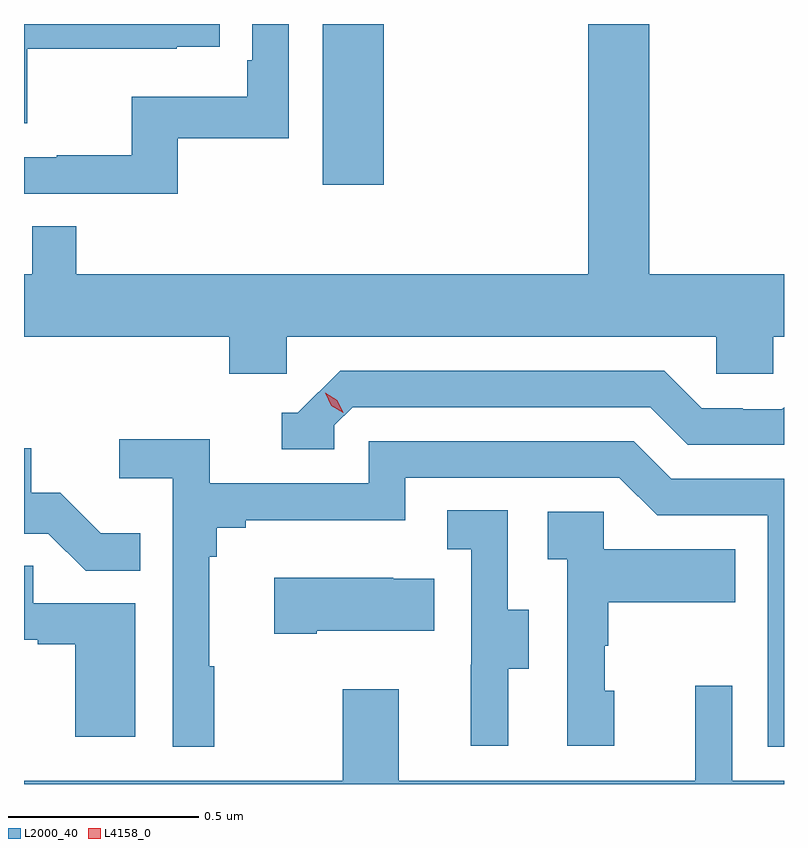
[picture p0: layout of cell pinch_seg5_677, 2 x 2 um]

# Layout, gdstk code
import gdstk
lib = gdstk.Library(unit=1e-6, precision=1e-09)
def R(c, l, rs):  # rectangles x0, y0, x1, y1
    for r in rs: c.add(gdstk.rectangle(r[:2], r[2:], *l))
def P(c, l, *ps):  # polygons
    for p in ps: c.add(gdstk.Polygon(p, *l))
L2000_40 = (2000, 40)
L4158_0 = (4158, 0)

pinch_seg5_677 = lib.new_cell('pinch_seg5_677')
R(pinch_seg5_677, L2000_40, [(1047.113,839.844,1047.274,840.267)])
P(pinch_seg5_677, L2000_40, [(1047.018,839.444),(1048.149,839.444),(1048.149,839.346),(1048.299,839.346),(1048.299,839.444),(1048.327,839.444),(1048.327,839.608),(1047.972,839.608),(1047.972,840.267),(1047.812,840.267),(1047.812,839.608),(1046.465,839.608),(1046.465,839.735),(1046.349,839.735),(1046.349,839.608),(1046.327,839.608),(1046.327,839.444),(1046.867,839.444),(1046.867,839.346),(1047.018,839.346)],
  [(1046.336,840.202),(1046.729,840.202),(1046.729,840.207),(1046.842,840.207),(1046.842,840.267),(1046.327,840.267),(1046.327,840.006),(1046.336,840.006)],
  [(1046.731,839.967),(1047.024,839.967),(1047.024,840.267),(1046.928,840.267),(1046.928,840.172),(1046.915,840.172),(1046.915,840.076),(1046.61,840.076),(1046.61,839.921),(1046.413,839.921),(1046.413,839.916),(1046.327,839.916),(1046.327,839.82),(1046.731,839.82)],
  [(1047.144,839.211),(1047.192,839.259),(1047.975,839.259),(1048.074,839.16),(1048.327,839.16),(1048.327,839.259),(1048.321,839.253),(1048.218,839.253),(1048.218,839.256),(1048.111,839.256),(1048.012,839.355),(1047.159,839.355),(1047.048,839.244),(1047.005,839.244),(1047.005,839.148),(1047.144,839.148)],
  [(1046.827,838.577),(1046.815,838.577),(1046.815,838.865),(1046.834,838.865),(1046.834,838.942),(1046.911,838.942),(1046.911,838.961),(1047.33,838.961),(1047.33,839.073),(1047.894,839.073),(1047.993,838.974),(1048.284,838.974),(1048.284,838.365),(1048.327,838.365),(1048.327,839.07),(1048.03,839.07),(1047.931,839.169),(1047.234,839.169),(1047.234,839.058),(1046.816,839.058),(1046.816,839.174),(1046.577,839.174),(1046.577,839.072),(1046.718,839.072),(1046.718,838.365),(1046.827,838.365)],
  [(1046.633,838.927),(1046.529,838.927),(1046.422,839.034),(1046.346,839.034),(1046.346,839.151),(1046.327,839.151),(1046.327,838.926),(1046.391,838.926),(1046.489,838.828),(1046.633,838.828)],
  [(1047.601,838.57),(1047.655,838.57),(1047.655,838.725),(1047.6,838.725),(1047.6,838.988),(1047.441,838.988),(1047.441,838.885),(1047.504,838.885),(1047.504,838.581),(1047.503,838.581),(1047.503,838.368),(1047.601,838.368)],
  [(1047.88,838.512),(1047.855,838.512),(1047.855,838.631),(1047.865,838.631),(1047.865,838.745),(1048.199,838.745),(1048.199,838.885),(1047.852,838.885),(1047.852,838.983),(1047.705,838.983),(1047.705,838.859),(1047.756,838.859),(1047.756,838.368),(1047.88,838.368)],
  [(1046.62,838.743),(1046.351,838.743),(1046.351,838.841),(1046.327,838.841),(1046.327,838.647),(1046.363,838.647),(1046.363,838.635),(1046.462,838.635),(1046.462,838.392),(1046.62,838.392)],
  [(1047.097,838.67),(1047.407,838.67),(1047.407,838.807),(1047.299,838.807),(1047.299,838.81),(1046.985,838.81),(1046.985,838.663),(1047.097,838.663)],
  [(1048.327,838.276),(1048.191,838.276),(1048.191,838.525),(1048.094,838.525),(1048.094,838.276),(1047.313,838.276),(1047.313,838.516),(1047.166,838.516),(1047.166,838.276),(1046.327,838.276),(1046.327,838.267),(1048.327,838.267)])
P(pinch_seg5_677, L4158_0, [(1047.167,839.244),(1047.136,839.263),(1047.12,839.296),(1047.12,839.297),(1047.12,839.297),(1047.151,839.277),(1047.167,839.244),(1047.167,839.244)])

lib.write_gds('pinch_seg5_677.gds')
